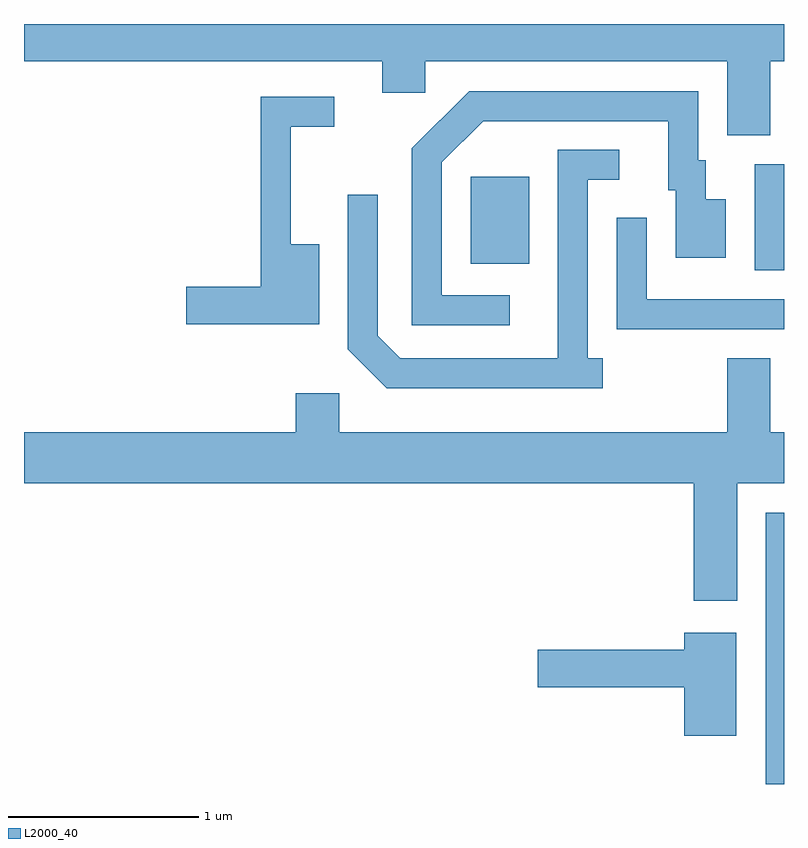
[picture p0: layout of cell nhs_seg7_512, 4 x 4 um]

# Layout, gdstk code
import gdstk
lib = gdstk.Library(unit=1e-6, precision=1e-09)
def R(c, l, rs):  # rectangles x0, y0, x1, y1
    for r in rs: c.add(gdstk.rectangle(r[:2], r[2:], *l))
def P(c, l, *ps):  # polygons
    for p in ps: c.add(gdstk.Polygon(p, *l))
L2000_40 = (2000, 40)

nhs_seg7_512 = lib.new_cell('nhs_seg7_512')
R(nhs_seg7_512, L2000_40, [(203.516,1748.252,203.611,1749.679), (203.456,1750.956,203.611,1751.514), (201.961,1750.991,202.269,1751.449)])
P(nhs_seg7_512, L2000_40, [(203.539,1752.056),(203.611,1752.056),(203.611,1752.252),(199.611,1752.252),(199.611,1752.056),(201.496,1752.056),(201.496,1751.891),(201.724,1751.891),(201.724,1752.056),(203.311,1752.056),(203.311,1751.666),(203.539,1751.666)],
  [(202.168,1750.824),(201.809,1750.824),(201.809,1751.524),(202.027,1751.741),(203.001,1751.741),(203.001,1751.376),(203.041,1751.376),(203.041,1751.021),(203.304,1751.021),(203.304,1751.329),(203.199,1751.329),(203.199,1751.534),(203.159,1751.534),(203.159,1751.899),(201.954,1751.899),(201.651,1751.597),(201.651,1750.666),(202.168,1750.666)],
  [(201.164,1751.094),(201.014,1751.094),(201.014,1751.711),(201.243,1751.711),(201.243,1751.869),(200.856,1751.869),(200.856,1750.869),(200.466,1750.869),(200.466,1750.671),(201.164,1750.671)],
  [(202.658,1750.494),(202.579,1750.494),(202.579,1751.431),(202.743,1751.431),(202.743,1751.589),(202.421,1751.589),(202.421,1750.494),(201.592,1750.494),(201.474,1750.612),(201.474,1751.353),(201.316,1751.353),(201.316,1750.539),(201.519,1750.336),(202.658,1750.336)],
  [(203.611,1750.804),(202.889,1750.804),(202.889,1751.233),(202.731,1751.233),(202.731,1750.646),(203.611,1750.646)],
  [(203.364,1749.836),(203.611,1749.836),(203.611,1750.104),(203.539,1750.104),(203.539,1750.494),(203.311,1750.494),(203.311,1750.104),(201.269,1750.104),(201.269,1750.309),(201.041,1750.309),(201.041,1750.104),(199.611,1750.104),(199.611,1749.836),(203.136,1749.836),(203.136,1749.216),(203.364,1749.216)],
  [(203.359,1749.049),(203.086,1749.049),(203.086,1748.959),(202.316,1748.959),(202.316,1748.761),(203.086,1748.761),(203.086,1748.506),(203.359,1748.506)])

lib.write_gds('nhs_seg7_512.gds')
